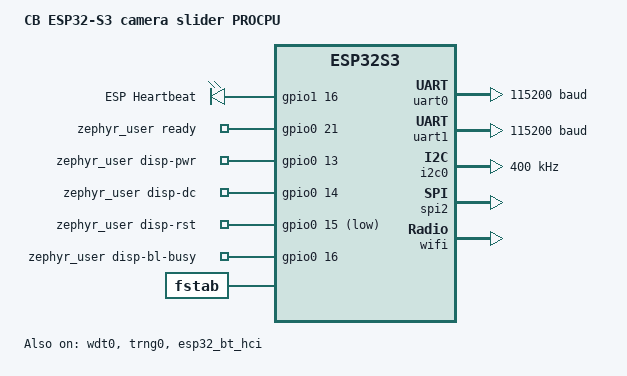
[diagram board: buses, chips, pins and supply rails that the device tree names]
/*
 * Copyright (c) 2026 C Barker
 *
 * SPDX-License-Identifier: Apache-2.0
 *
 * The ESP32-S3 half of the Ki_Slider camera slider board (U6,
 * ESP32-S3-WROOM-1-N16R8). The STM32 half is boards/flintstone/cb_f411re_slider.
 *
 * This module has no power switch of its own: 3V3_ESP is gated by the STM32
 * (PC0), and EN and IO0 are driven by the STM32 too. Nothing here runs until
 * the STM32 has enabled the rail. See this board's README.
 */

/dts-v1/;

#include <espressif/esp32s3/esp32s3_wroom_n16r8.dtsi>
#include "cb_s3_slider-partitions.dtsi"
#include "cb_s3_slider-pinctrl.dtsi"

/ {
	model = "CB ESP32-S3 camera slider PROCPU";
	compatible = "espressif,esp32s3";

	chosen {
		zephyr,sram = &sram1;
		zephyr,console = &uart0;
		zephyr,shell-uart = &uart0;
		zephyr,flash = &flash0;
		zephyr,code-partition = &slot0_partition;
		zephyr,bt-hci = &esp32_bt_hci;
	};

	leds: leds {
		compatible = "gpio-leds";

		led_0: led_0 {
			/* IO48 -> R22 560R -> D5 anode, cathode to GND.
			 * Same circuit as the STM32's heartbeat (R13/D3), so the
			 * pin sources the current and the LED is active HIGH.
			 */
			gpios = <&gpio1 16 GPIO_ACTIVE_HIGH>;
			label = "ESP Heartbeat";
		};
	};

	/*
	 * Board signals with no binding of their own.
	 * Fetch with GPIO_DT_SPEC_GET(DT_PATH(zephyr_user), <name>_gpios).
	 */
	zephyr_user: zephyr,user {
		/* IO21 -> STM32 PC5. Drive high to tell the STM32 this side is
		 * up. The STM32 holds a pull-down on its end, so the line reads
		 * low while 3V3_ESP is off and IO21 is high-Z.
		 */
		ready-gpios = <&gpio0 21 GPIO_ACTIVE_HIGH>;

		/* Display control lines on J7, alongside the SPI bus. */
		disp-pwr-gpios = <&gpio0 13 GPIO_ACTIVE_HIGH>;
		disp-dc-gpios = <&gpio0 14 GPIO_ACTIVE_HIGH>;
		disp-rst-gpios = <&gpio0 15 GPIO_ACTIVE_LOW>;
		disp-bl-busy-gpios = <&gpio0 16 GPIO_ACTIVE_HIGH>;
	};

	/* LittleFS over the reclaimed OTA slot. Sequences, settings and, later,
	 * assets for the J7 display all live here; the web UI itself ships
	 * inside the firmware so it can never disagree with the API it calls.
	 */
	fstab {
		compatible = "zephyr,fstab";

		lfs_data: lfs_data {
			compatible = "zephyr,fstab,littlefs";
			mount-point = "/lfs";
			partition = <&storage_partition>;
			automount;
			read-size = <64>;
			prog-size = <64>;
			cache-size = <256>;
			lookahead-size = <64>;
			block-cycles = <512>;
		};
	};

	aliases {
		led-heartbeat = &led_0;
		watchdog0 = &wdt0;
	};
};

/* No USB on this design - U6 pins 13 and 14 are unconnected, so UART0 on J9 is
 * the only way in.
 */
&usb_serial {
	status = "disabled";
};

/* UART0 -> J9 header: console, shell and esptool all arrive here. */
&uart0 {
	status = "okay";
	current-speed = <115200>;
	pinctrl-0 = <&uart0_default>;
	pinctrl-names = "default";
};

/* UART1 -> STM32 USART1 (PA9/PA10). */
&uart1 {
	status = "okay";
	current-speed = <115200>;
	pinctrl-0 = <&uart1_default>;
	pinctrl-names = "default";
};

&gpio0 {
	status = "okay";
};

&gpio1 {
	status = "okay";
};

/* I2C expansion on J3, with R23/R24 4.7K pull-ups fitted on the board. */
&i2c0 {
	status = "okay";
	clock-frequency = <I2C_BITRATE_FAST>;
	pinctrl-0 = <&i2c0_default>;
	pinctrl-names = "default";
};

/* Display header J7. Left enabled so a panel can be added without a board
 * change; nothing is attached by default.
 */
&spi2 {
	#address-cells = <1>;
	#size-cells = <0>;
	status = "okay";
	pinctrl-0 = <&spim2_default>;
	pinctrl-names = "default";
};

&wdt0 {
	status = "okay";
};

&trng0 {
	status = "okay";
};

&esp32_bt_hci {
	status = "okay";
};

&wifi {
	status = "okay";
};
